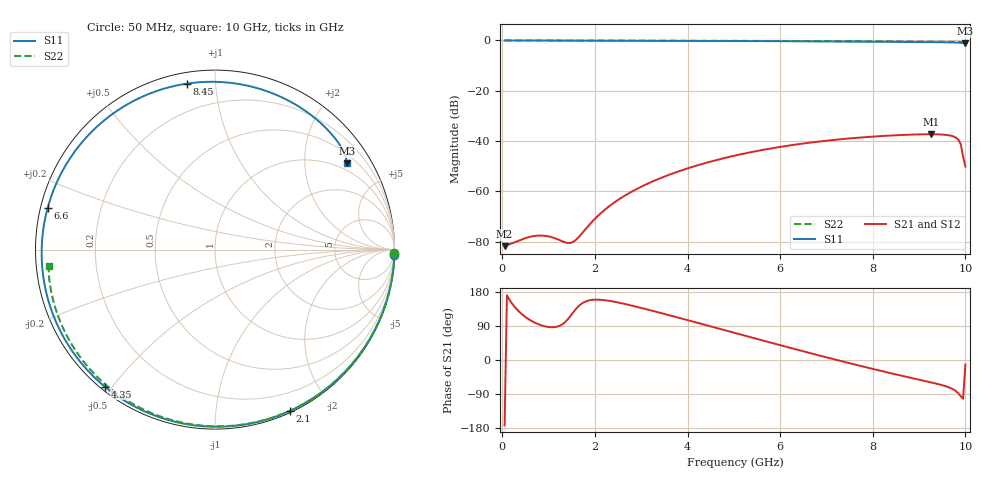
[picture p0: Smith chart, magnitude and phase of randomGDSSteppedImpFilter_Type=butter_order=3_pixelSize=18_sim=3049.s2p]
! freq	dB(S11)	phase(S11)	dB(S12)	phase(S12)
!  dB(S21)	phase(S21)	dB(S22)	phase(S22)
!S-par simulation data
#  GHz  S  DB  R 50
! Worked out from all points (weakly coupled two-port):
!   200 points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, 50 MHz to 10 GHz, reference 50 ohm
!   highest |S21| = -37.28 dB at 9.25 GHz (marker M1); lowest = -81.8 dB at 50 MHz (marker M2)
!   lowest |S11| = -1.1 dB at 10 GHz (marker M3), VSWR 15.35, Z = 38.2 + j160 ohm
!   |S11| at or under -10 dB: nowhere
!   |S22| runs from -0.6 to 0.0 dB; largest |S21 - S12| = 0
!   S11 on the Smith chart (normalised r, x): 50 MHz: 0, -72; 2.1 GHz: 0.02, -1.57; 4.35 GHz: 0.01, -0.48; 6.6 GHz: 0.02, +0.12; 8.45 GHz: 0.05, +0.84; 10 GHz: 0.76, +3.19
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0.05  -0.00 -1.6  -81.77 -172.6  -81.77 -172.6  -0.00 -1.0
0.3  -0.01 -9.6  -79.97 135.6  -79.97 135.6  -0.00 -5.9
0.8  -0.03 -25.3  -77.56 93.5  -77.56 93.5  -0.02 -15.7
1.5  -0.06 -46.9  -80.31 120.7  -80.31 120.7  -0.04 -29.2
1.75  -0.07 -54.5  -76.04 151.4  -76.04 151.4  -0.04 -33.9
2.1  -0.08 -64.9  -69.12 159.0  -69.12 159.0  -0.05 -40.5
2.65  -0.10 -81.0  -61.64 147.8  -61.64 147.8  -0.07 -50.8
3.4  -0.13 -102.4  -54.85 124.8  -54.85 124.8  -0.09 -64.3
4.35  -0.18 -128.8  -48.91 93.7  -48.91 93.7  -0.12 -81.0
5.05  -0.22 -148.3  -45.65 70.4  -45.65 70.4  -0.14 -92.8
5.85  -0.28 -171.2  -42.77 44.0  -42.77 44.0  -0.18 -106.1
6.6  -0.35 165.9  -40.72 19.7  -40.72 19.7  -0.23 -118.2
6.7  -0.36 162.7  -40.49 16.5  -40.49 16.5  -0.24 -119.8
7.5  -0.44 135.7  -38.94 -8.5  -38.94 -8.5  -0.30 -132.7
8.35  -0.54 103.6  -37.83 -33.8  -37.83 -33.8  -0.38 -146.4
8.45  -0.56 99.6  -37.73 -36.6  -37.73 -36.6  -0.39 -148.1
8.85  -0.61 83.0  -37.42 -47.8  -37.42 -47.8  -0.43 -154.7
9.25  -0.67 65.7  -37.28 -58.9  -37.28 -58.9  -0.48 -161.4
9.65  -0.75 47.8  -37.72 -72.5  -37.72 -72.5  -0.54 -168.2
9.85  -0.87 38.6  -39.49 -88.0  -39.49 -88.0  -0.58 -171.8
9.9  -0.94 36.4  -41.25 -95.8  -41.25 -95.8  -0.59 -172.7
10  -1.13 33.2  -50.12 -12.4  -50.12 -12.4  -0.62 -174.3
